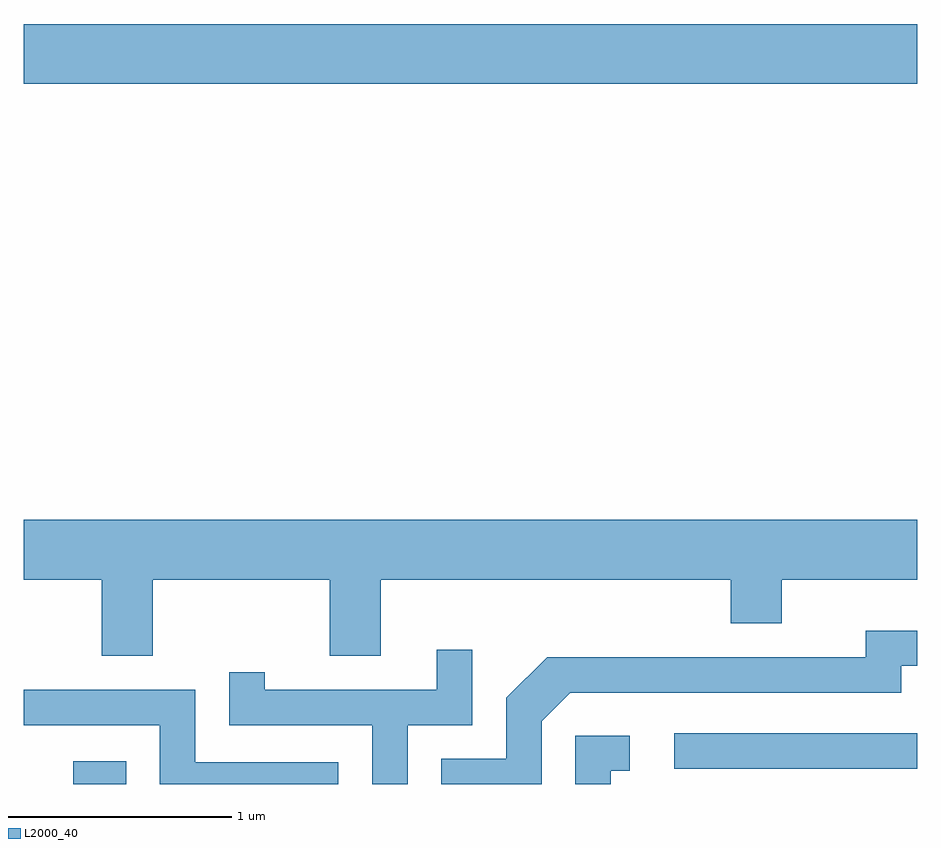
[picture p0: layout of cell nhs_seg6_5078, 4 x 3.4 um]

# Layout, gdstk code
import gdstk
lib = gdstk.Library(unit=1e-6, precision=1e-09)
def R(c, l, rs):  # rectangles x0, y0, x1, y1
    for r in rs: c.add(gdstk.rectangle(r[:2], r[2:], *l))
def P(c, l, *ps):  # polygons
    for p in ps: c.add(gdstk.Polygon(p, *l))
L2000_40 = (2000, 40)

nhs_seg6_5078 = lib.new_cell('nhs_seg6_5078')
R(nhs_seg6_5078, L2000_40, [(339.833,1620.162,340.069,1620.264), (342.523,1620.231,343.611,1620.389), (339.611,1623.296,343.611,1623.564)])
P(nhs_seg6_5078, L2000_40, [(340.189,1621.076),(340.981,1621.076),(340.981,1620.736),(341.209,1620.736),(341.209,1621.076),(342.776,1621.076),(342.776,1620.881),(343.004,1620.881),(343.004,1621.076),(343.611,1621.076),(343.611,1621.344),(339.611,1621.344),(339.611,1621.076),(339.961,1621.076),(339.961,1620.736),(340.189,1620.736)],
  [(341.929,1620.444),(342.057,1620.571),(343.539,1620.571),(343.539,1620.691),(343.611,1620.691),(343.611,1620.849),(343.381,1620.849),(343.381,1620.729),(341.954,1620.729),(341.771,1620.547),(341.771,1620.274),(341.481,1620.274),(341.481,1620.162),(341.929,1620.162)],
  [(341.329,1620.426),(341.619,1620.426),(341.619,1620.763),(341.461,1620.763),(341.461,1620.584),(340.689,1620.584),(340.689,1620.663),(340.531,1620.663),(340.531,1620.426),(341.171,1620.426),(341.171,1620.162),(341.329,1620.162)],
  [(341.019,1620.259),(340.379,1620.259),(340.379,1620.584),(339.611,1620.584),(339.611,1620.426),(340.221,1620.426),(340.221,1620.162),(341.019,1620.162)],
  [(342.239,1620.221),(342.323,1620.221),(342.323,1620.379),(342.081,1620.379),(342.081,1620.162),(342.239,1620.162)])

lib.write_gds('nhs_seg6_5078.gds')
